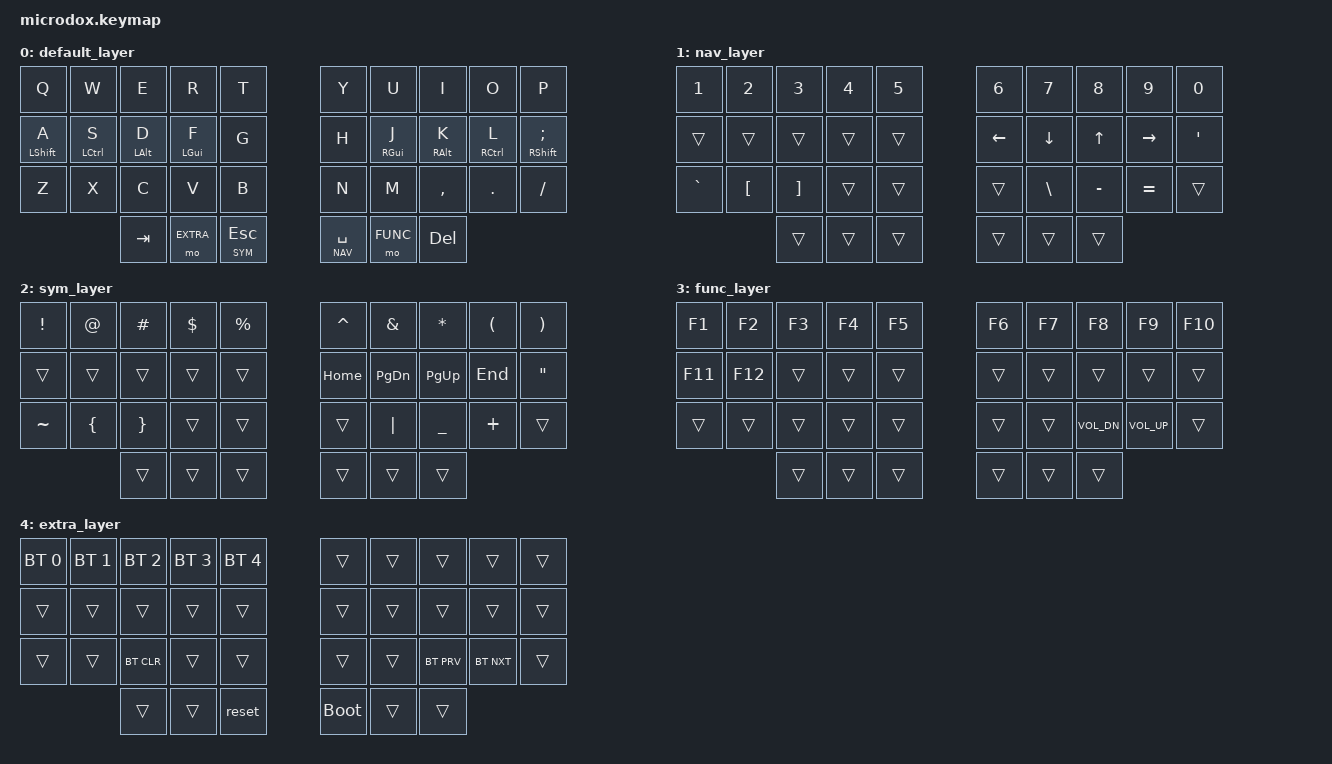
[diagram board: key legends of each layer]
/*
 * Copyright (c) 2020 The ZMK Contributors
 *
 * SPDX-License-Identifier: MIT
 */

#include <behaviors.dtsi>
#include <dt-bindings/zmk/keys.h>
#include <dt-bindings/zmk/bt.h>

#define DEFAULT 0
#define NAV     1
#define SYM     2
#define FUNC    3
#define EXTRA   4

/ {
    behaviors {
        hm: homerow_mods {
            compatible = "zmk,behavior-hold-tap";
            label = "homerow mods";
            #binding-cells = <2>;
            tapping_term_ms = <150>;
            flavor = "tap-preferred";
            bindings = <&kp>, <&kp>;
        };
    }

    combos {
        compatible = "zmk,combo";
        combo_ent {
            timeout-ms = <50>;
            key-positions = <12 13>;
            bindings = <&kp RET>;
        };

        combo_bksp {
            timeout-ms = <50>;
            key-positions = <16 17>;
            bindings = <&kp BSPC>;
        };

        combo_tab {
            timeout-ms = <50>;
            key-positions = <22 23>;
            bindings = <&kp TAB>;
        };

        combo_del {
            timeout-ms = <50>;
            key-positions = <26 27>;
            bindings = <&kp DEL>;
        };
    };
};

/ {
        keymap {
                compatible = "zmk,keymap";

                default_layer {
                bindings = <
                        &kp Q       &kp W       &kp E      &kp R      &kp T &kp Y &kp U      &kp I      &kp O       &kp P
                        &hm LSHFT A &hm LCTRL S &hm LALT D &hm LGUI F &kp G &kp H &hm RGUI J &hm RALT K &hm RCTRL L &hm RSHFT SEMI
                        &kp Z       &kp X       &kp C      &kp V      &kp B &kp N &kp M      &kp COMMA  &kp DOT     &kp FSLH
                                &kp TAB    &mo EXTRA  &lt SYM ESC            &lt NAV SPACE &mo FUNC &kp DEL
                >;
                };

                nav_layer {
                bindings = <
                        &kp N1 &kp N2 &kp N3 &kp N4 &kp N5 &kp N6 &kp N7 &kp N8 &kp N9 &kp N0
                        &trans &trans &trans &trans &trans &kp LEFT &kp DOWN &kp UP &kp RIGHT &kp SQT
                        &kp GRAVE &kp LBKT &kp RBKT &trans &trans &trans &kp BSLH &kp MINUS &kp EQUAL &trans
                                &trans &trans &trans        &trans &trans &trans
                >;
                };

                sym_layer {
                bindings = <
                        &kp EXCL &kp AT &kp HASH &kp DLLR &kp PRCNT &kp CARET &kp AMPS &kp ASTRK &kp LPAR &kp RPAR
                        &trans &trans &trans &trans &trans &kp HOME &kp PG_DN &kp PG_UP &kp END &kp DQT
                        &kp TILDE &kp LBRC &kp RBRC &trans &trans &trans &kp PIPE &kp UNDER &kp PLUS &trans
                                &trans &trans &trans        &trans &trans &trans
                >;
                };

                func_layer {
                bindings = <
                        &kp F1 &kp F2 &kp F3 &kp F4 &kp F5 &kp F6 &kp F7 &kp F8 &kp F9 &kp F10
                        &kp F11 &kp F12 &trans &trans &trans &trans &trans &trans &trans &trans
                        &trans &trans &trans &trans &trans &trans &trans &kp C_VOL_DN &kp C_VOL_UP &trans
                                        &trans &trans &trans        &trans &trans &trans
                >;
                };

                extra_layer {
                bindings = <
                        &bt BT_SEL 0 &bt BT_SEL 1 &bt BT_SEL 2 &bt BT_SEL 3 &bt BT_SEL 4 &trans &trans &trans &trans &trans
                        &trans &trans &trans &trans &trans &trans &trans &trans &trans &trans
                        &trans &trans &bt BT_CLR &trans &trans &trans &trans &bt BT_PRV &bt BT_NXT &trans
                                        &trans &trans &reset      &bootloader &trans &trans
                >;
                };
        };
};
